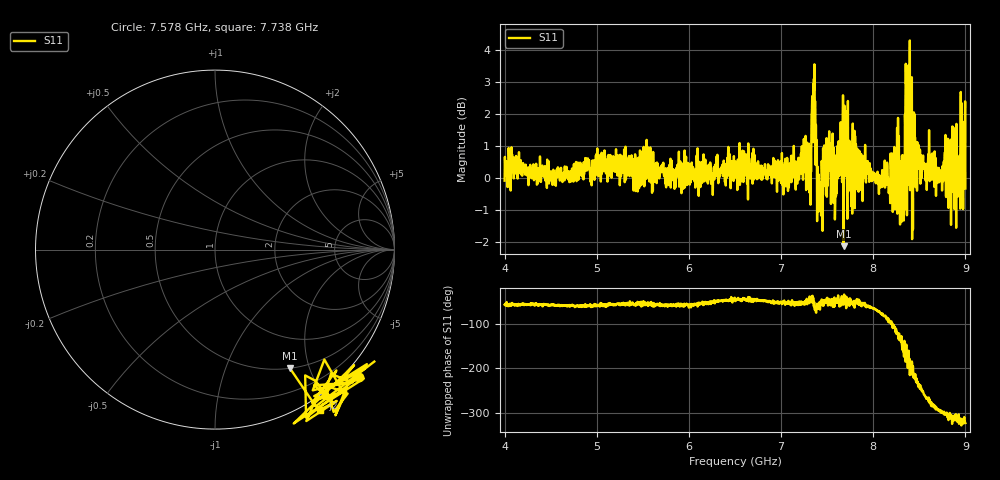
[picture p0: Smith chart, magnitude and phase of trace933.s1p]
! Created with skrf 1.8.0 (http://scikit-rf.org).
# Hz S RI R 50.0
!freq ReS11 ImS11
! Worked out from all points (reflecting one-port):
!   1601 points, 4 GHz to 9 GHz, reference 50 ohm
!   lowest |S11| = -2.1 dB at 7.678 GHz (marker M1), VSWR 8.24, Z = 24.9 - j85.3 ohm
!   phase of S11 starts at -58 deg and turns -265 deg over the sweep
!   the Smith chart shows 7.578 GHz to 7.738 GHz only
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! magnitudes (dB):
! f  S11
! 4 GHz  -0.1
! 4.625 GHz  -0.1
! 5.25 GHz  -0.2
! 5.875 GHz  0.4
! 6.5 GHz  0.0
! 7.125 GHz  0.1
! 7.303 GHz  0.8
! 7.353 GHz  2.2
! 7.375 GHz  0.4
! 7.4 GHz  -0.7
! 7.425 GHz  -0.4
! 7.478 GHz  0.8
! 7.591 GHz  0.7
! 7.65 GHz  1.3
! 7.678 GHz  -2.1
! 7.75 GHz  -0.1
! 8.075 GHz  -0.1
! 8.253 GHz  0.1
! 8.316 GHz  -0.5
! 8.338 GHz  -0.1
! 8.375 GHz  0.3
! 8.391 GHz  2.6
! 8.447 GHz  2.0
! 8.812 GHz  1.2
! 8.872 GHz  1.6
! 8.919 GHz  -0.3
! 8.972 GHz  0.9
! 9 GHz  -0.3
